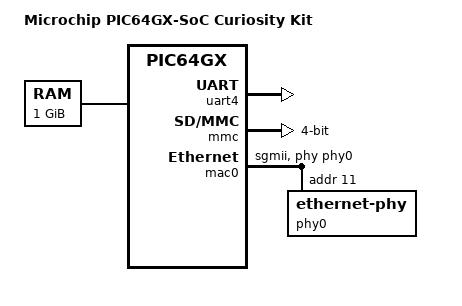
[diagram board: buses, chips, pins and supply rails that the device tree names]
// SPDX-License-Identifier: (GPL-2.0+ OR MIT)
/*
 * Copyright (C) 2024 Microchip Technology Inc.
 */

/dts-v1/;

#include "microchip-pic64gx.dtsi"

/* Clock frequency (in Hz) of the rtcclk */
#define RTCCLK_FREQ		1000000

/ {
	model = "Microchip PIC64GX-SoC Curiosity Kit";
	compatible = "microchip,pic64gx-curiosity-kit", "microchip,pic64gx";

	aliases {
		serial1 = &uart1;
		ethernet0 = &mac0;
	};

	chosen {
		stdout-path = "serial1";
	};

	cpus {
		timebase-frequency = <RTCCLK_FREQ>;
	};

	ddr_cached_low: memory@80000000 {
		device_type = "memory";
		reg = <0x0 0x80000000 0x0 0x40000000>;
		label = "kernel";
	};

	reserved-memory {
		#address-cells = <2>;
		#size-cells = <2>;
		ranges;

		hss: hss-buffer {
			compatible = "shared-dma-pool";
			reg = <0x0 0xbfc00000 0x0 0x400000>;
			no-map;
		};
	};
};

&refclk {
	clock-frequency = <125000000>;
};

&uart4 {
	status = "okay";
};

&mmc {
	status = "okay";
	bus-width = <4>;
	disable-wp;
	cap-mmc-highspeed;
	cap-sd-highspeed;
	card-detect-delay = <200>;
	mmc-ddr-1_8v;
	mmc-hs200-1_8v;
	sd-uhs-sdr12;
	sd-uhs-sdr25;
	sd-uhs-sdr50;
	sd-uhs-sdr104;
};

&mac0 {
	status = "okay";
	phy-mode = "sgmii";
	phy-handle = <&phy0>;
	phy0: ethernet-phy@11 {
		reg = <11>;
	};
};
